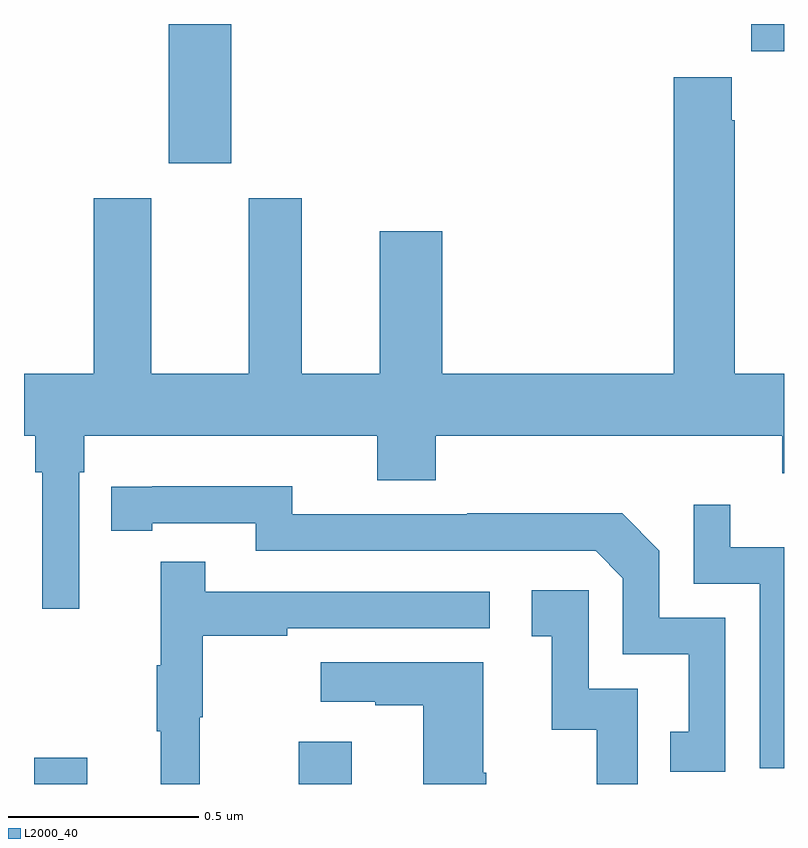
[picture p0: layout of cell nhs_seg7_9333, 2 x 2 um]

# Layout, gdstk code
import gdstk
lib = gdstk.Library(unit=1e-6, precision=1e-09)
def R(c, l, rs):  # rectangles x0, y0, x1, y1
    for r in rs: c.add(gdstk.rectangle(r[:2], r[2:], *l))
def P(c, l, *ps):  # polygons
    for p in ps: c.add(gdstk.Polygon(p, *l))
L2000_40 = (2000, 40)

nhs_seg7_9333 = lib.new_cell('nhs_seg7_9333')
R(nhs_seg7_9333, L2000_40, [(236.027,1033,236.167,1033.069), (236.723,1033,236.863,1033.111), (236.381,1034.634,236.545,1035), (237.914,1034.928,238,1035)])
P(nhs_seg7_9333, L2000_40, [(236.145,1033.82),(236.159,1033.82),(236.159,1033.916),(236.93,1033.916),(236.93,1033.799),(237.083,1033.799),(237.083,1033.916),(237.995,1033.916),(237.995,1033.818),(238,1033.818),(238,1034.08),(237.87,1034.08),(237.87,1034.747),(237.863,1034.747),(237.863,1034.86),(237.71,1034.86),(237.71,1034.08),(237.1,1034.08),(237.1,1034.455),(236.936,1034.455),(236.936,1034.08),(236.731,1034.08),(236.731,1034.542),(236.591,1034.542),(236.591,1034.08),(236.335,1034.08),(236.335,1034.542),(236.183,1034.542),(236.183,1034.08),(236,1034.08),(236,1033.916),(236.029,1033.916),(236.029,1033.82),(236.048,1033.82),(236.048,1033.461),(236.145,1033.461)],
  [(237.846,1033.437),(237.672,1033.437),(237.672,1033.614),(237.574,1033.712),(237.166,1033.712),(237.166,1033.71),(236.706,1033.71),(236.706,1033.783),(236.338,1033.783),(236.338,1033.782),(236.23,1033.782),(236.23,1033.666),(236.338,1033.666),(236.338,1033.686),(236.61,1033.686),(236.61,1033.614),(237.504,1033.614),(237.576,1033.542),(237.576,1033.341),(237.749,1033.341),(237.749,1033.137),(237.7,1033.137),(237.7,1033.032),(237.846,1033.032)],
  [(238,1033.623),(237.859,1033.623),(237.859,1033.735),(237.762,1033.735),(237.762,1033.527),(237.936,1033.527),(237.936,1033.041),(238,1033.041)],
  [(236.462,1033.176),(236.47,1033.176),(236.47,1033.39),(236.693,1033.39),(236.693,1033.41),(237.226,1033.41),(237.226,1033.506),(236.477,1033.506),(236.477,1033.585),(236.36,1033.585),(236.36,1033.313),(236.349,1033.313),(236.349,1033.139),(236.36,1033.139),(236.36,1033),(236.462,1033)],
  [(237.615,1033.251),(237.486,1033.251),(237.486,1033.51),(237.336,1033.51),(237.336,1033.389),(237.389,1033.389),(237.389,1033.143),(237.507,1033.143),(237.507,1033),(237.615,1033)],
  [(237.216,1033.03),(237.208,1033.03),(237.208,1033.321),(236.781,1033.321),(236.781,1033.217),(236.924,1033.217),(236.924,1033.207),(237.05,1033.207),(237.05,1033),(237.216,1033)])

lib.write_gds('nhs_seg7_9333.gds')
